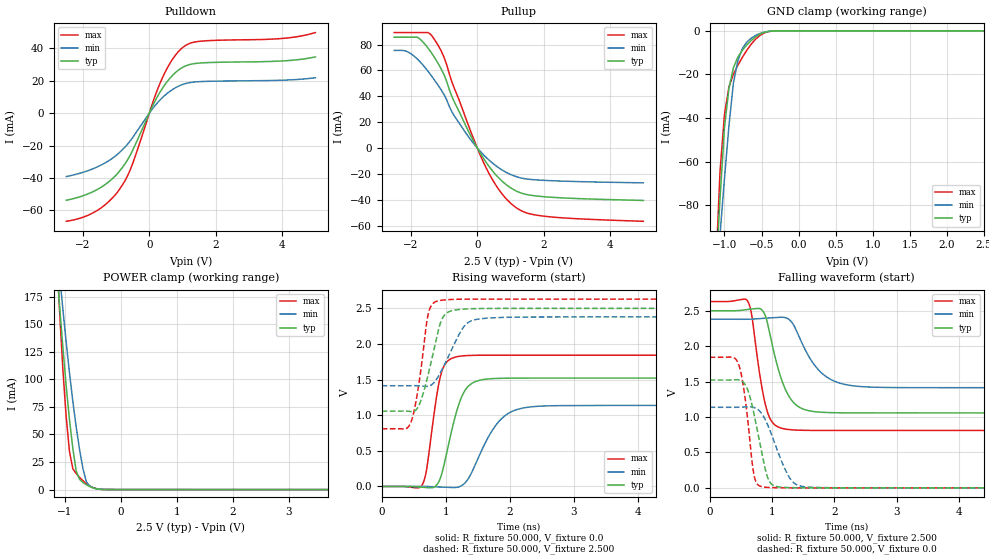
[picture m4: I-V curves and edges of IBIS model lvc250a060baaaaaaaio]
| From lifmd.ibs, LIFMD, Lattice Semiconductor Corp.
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|   Model lvc250a060baaaaaaaio
[Model] lvc250a060baaaaaaaio
Model_type I/O
Polarity   Non-Inverting
Enable   Active-Low
Vinl =  0.700V
Vinh =  1.700V
Vmeas =  1.250V
Cref =  0.0F
Rref =  1.000M
Vref =  0.0V
C_comp   5.000pF   4.000pF   5.500pF
[Temperature Range]   25.000   0.125k   -40.000
[Voltage Range]   2.500V   2.380V   2.630V
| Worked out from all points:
|   slope of the pulldown table from 0 to 0.375 V, typ, clamps not added: 25.5 ohm
|   slope of the pullup table from 0 to 0.375 V, typ, clamps not added: 25.1 ohm
|   GND clamp passes 1 mA (typ) near -0.48 V on its own axis
|   POWER clamp passes 1 mA (typ) near -0.46 V on its own axis
|   rising waveform, R_fixture 50.000, V_fixture 0.0: 20-80 % time 257ps typ, 407ps min, 176ps max; typ from 0 V to 1.52 V
|   rising waveform, R_fixture 50.000, V_fixture 2.500: 20-80 % time 230ps typ, 319ps min, 166ps max; typ from 1.06 V to 2.5 V
|   falling waveform, R_fixture 50.000, V_fixture 2.500: 20-80 % time 282ps typ, 406ps min, 192ps max; typ from 2.5 V to 1.06 V
|   falling waveform, R_fixture 50.000, V_fixture 0.0: 20-80 % time 215ps typ, 310ps min, 147ps max; typ from 1.52 V to 0 V
[Pulldown]
|Voltage   I(typ)   I(min)   I(max)
-2.5V     -53.73mA   -39.13mA   -66.73mA
-1.54V    -46.79mA   -32.9mA    -59.67mA
-1.14V    -40.95mA   -28.24mA   -52.9mA
-820mV    -33.76mA   -22.75mA   -44.59mA
-500mV    -22.79mA   -15mA      -30.97mA
140mV     6.193mA    3.878mA    8.787mA
380mV     14.93mA    9.355mA    21.22mA
700mV     23.37mA    14.65mA    33.36mA
1.02V     28.5mA     17.87mA    40.83mA
1.5V      30.92mA    19.46mA    44.32mA
3.98V     32.22mA    20.34mA    46.1mA
5V        34.72mA    21.85mA    49.76mA
[Pullup]
|Voltage   I(typ)   I(min)   I(max)
-2.5V     85.63mA    75.44mA    89.23mA
-2.12V    85.63mA    74.61mA    89.23mA
-1.8V     85.63mA    68.68mA    89.23mA
-1.48V    77.17mA    59.23mA    89.23mA
-1.32V    71.3mA     53.67mA    85.05mA
-1V       56.59mA    41.33mA    70.08mA
-680mV    35.07mA    24.37mA    45.49mA
280mV     -11.58mA   -7.625mA   -16.06mA
680mV     -24.02mA   -15.93mA   -33.26mA
1.16V     -33.12mA   -22.06mA   -45.97mA
2.04V     -37.76mA   -25.09mA   -52.85mA
5V        -40.58mA   -26.98mA   -56.71mA
[GND_clamp]
|Voltage   I(typ)   I(min)   I(max)
-2.5V     -1.11A     -830.4mA   -1.508A
-1.12V    -113.2mA   -120.2mA   -111.9mA
-1.06V    -76.9mA    -93.39mA   -64.4mA
-1V       -44.33mA   -67.79mA   -38.44mA
-940mV    -26.43mA   -43.71mA   -25.82mA
-880mV    -16.99mA   -24.07mA   -19.9mA
-820mV    -12.06mA   -13.82mA   -15.86mA
-760mV    -8.988mA   -8.251mA   -12.26mA
-580mV    -2.757mA   -2.108mA   -3.818mA
-460mV    -701.6uA   -569.5uA   -954.5uA
-340mV    -67.17uA   -66.03uA   -79uA
2.5V      0A         0A         0A
[POWER_clamp]
|Voltage   I(typ)   I(min)   I(max)
-2.5V     1.335A     1.134A     2.299A
-1.16V    209.6mA    229.7mA    226.6mA
-1.1V     168.7mA    196.5mA    164.4mA
-1.04V    130.1mA    164.5mA    110.3mA
-980mV    94.6mA     134.1mA    66.48mA
-920mV    63.28mA    105.8mA    34.41mA
-860mV    37.2mA     79.96mA    18.84mA
-800mV    16.7mA     56.67mA    14.42mA
-680mV    6.419mA    19.17mA    8.074mA
-620mV    4.361mA    7.291mA    5.504mA
-560mV    2.717mA    3.193mA    3.406mA
5V        -43.59uA   -27.74uA   -65.11uA
[Ramp]
| variable   typ   min   max
dV/dt_r   0.913/0.261n   0.682/0.413n   1.106/0.185n
dV/dt_f   0.865/0.289n   0.580/0.412n   1.092/0.198n
R_load = 50.000
[Rising Waveform]
R_fixture= 50.000
V_fixture= 0.0
V_fixture_min= 0.0
V_fixture_max= 0.0
|time   V(typ)   V(min)   V(max)
0s        0V         0V         0V
638ps     -10.9mV    636.3uV    31.65mV
698ps     -14.93mV   -43.03uV   220.9mV
848ps     10.75mV    -6.123mV   1.209V
928ps     148.8mV    -8.64mV    1.583V
1.186ns   1.1V       -10.49mV   1.824V
1.397ns   1.44V      181mV      1.84V
1.842ns   1.518V     923.4mV    1.843V
2.292ns   1.521V     1.113V     1.843V
10ns      1.521V     1.137V     1.843V
[Rising Waveform]
R_fixture= 50.000
V_fixture= 2.500
V_fixture_min= 2.380
V_fixture_max= 2.630
|time   V(typ)   V(min)   V(max)
0s        1.058V     1.414V     810.2mV
449ps     1.052V     1.414V     888.1mV
557ps     1.1V       1.414V     1.308V
727ps     1.576V     1.406V     2.421V
785ps     1.797V     1.432V     2.553V
892ps     2.216V     1.558V     2.607V
1.004ns   2.427V     1.754V     2.621V
1.282ns   2.49V      2.242V     2.629V
1.552ns   2.498V     2.355V     2.63V
10ns      2.5V       2.38V      2.63V
[Falling Waveform]
R_fixture= 50.000
V_fixture= 2.500
V_fixture_min= 2.380
V_fixture_max= 2.630
|time   V(typ)   V(min)   V(max)
0s        2.5V       2.38V      2.63V
617ps     2.518V     2.38V      2.623V
678ps     2.524V     2.382V     2.421V
817ps     2.525V     2.39V      1.526V
917ps     2.36V      2.396V     1.099V
1.187ns   1.448V     2.406V     834.2mV
1.407ns   1.156V     2.188V     814.7mV
1.778ns   1.068V     1.636V     810.5mV
2.288ns   1.058V     1.442V     810.2mV
10ns      1.058V     1.414V     810.2mV
[Falling Waveform]
R_fixture= 50.000
V_fixture= 0.0
V_fixture_min= 0.0
V_fixture_max= 0.0
|time   V(typ)   V(min)   V(max)
0s        1.521V     1.137V     1.843V
461ps     1.525V     1.138V     1.751V
558ps     1.472V     1.142V     1.331V
710ps     1.047V     1.134V     188mV
848ps     447.8mV    1.031V     14.46mV
924ps     161.6mV    901.5mV    7.035mV
1ns       47.53mV    734.4mV    3.745mV
1.288ns   4.064mV    134.4mV    356.9uV
1.528ns   933.9uV    15.81mV    50.04uV
10ns      0V         0V         0V
